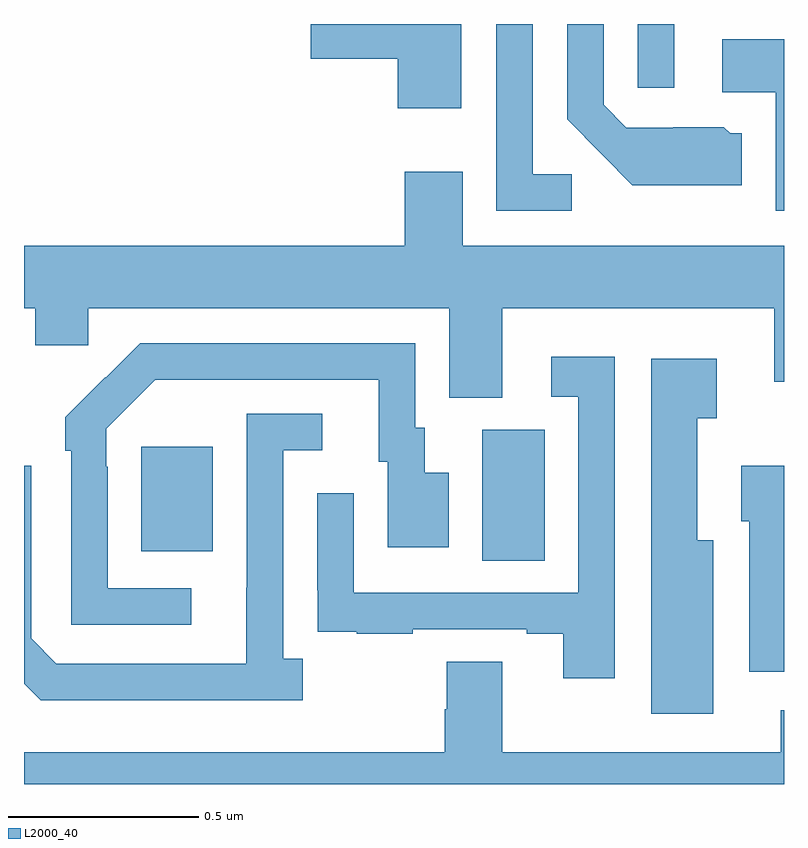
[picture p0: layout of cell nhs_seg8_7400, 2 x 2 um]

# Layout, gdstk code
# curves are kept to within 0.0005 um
import gdstk
lib = gdstk.Library(unit=1e-6, precision=1e-09)
def R(c, l, rs):  # rectangles x0, y0, x1, y1
    for r in rs: c.add(gdstk.rectangle(r[:2], r[2:], *l))
def P(c, l, *ps):  # polygons
    for p in ps: c.add(gdstk.Polygon(p, *l))
L2000_40 = (2000, 40)

nhs_seg8_7400 = lib.new_cell('nhs_seg8_7400')
R(nhs_seg8_7400, L2000_40, [(210.206,1130.488,210.37,1130.832), (209.309,1130.513,209.497,1130.788), (210.615,1131.732,210.711,1131.9)])
P(nhs_seg8_7400, L2000_40, [(210.151,1131.9),(209.754,1131.9),(209.754,1131.809),(209.984,1131.809),(209.984,1131.678),(210.151,1131.678)],
  [(210.889,1131.612),(210.858,1131.612),(210.842,1131.628),(210.708,1131.628),(210.708,1131.627),(210.585,1131.627),(210.525,1131.687),(210.525,1131.9),(210.429,1131.9),(210.429,1131.65),(210.601,1131.476),(210.889,1131.476)],
  [(210.442,1131.504),(210.339,1131.504),(210.339,1131.9),(210.243,1131.9),(210.243,1131.408),(210.442,1131.408)],
  [(211,1131.86),(210.837,1131.86),(210.837,1131.72),(210.978,1131.72),(210.978,1131.408),(211,1131.408)],
  [(210.259,1131.152),(210.974,1131.152),(210.974,1130.958),(211,1130.958),(211,1131.316),(210.154,1131.316),(210.154,1131.511),(210.002,1131.511),(210.002,1131.316),(209,1131.316),(209,1131.152),(209.03,1131.152),(209.03,1131.054),(209.169,1131.054),(209.169,1131.152),(210.119,1131.152),(210.119,1130.917),(210.259,1130.917)],
  [(209.44,1130.415),(209.22,1130.415),(209.22,1130.735),(209.217,1130.735),(209.217,1130.835),(209.346,1130.964),(209.933,1130.964),(209.933,1130.748),(209.957,1130.748),(209.957,1130.523),(210.118,1130.523),(210.118,1130.719),(210.055,1130.719),(210.055,1130.838),(210.03,1130.838),(210.03,1131.06),(209.306,1131.06),(209.215,1130.969),(209.214,1130.97),(209.109,1130.865),(209.109,1130.777),(209.124,1130.777),(209.124,1130.319),(209.44,1130.319)],
  [(210.555,1131.025),(210.387,1131.025),(210.387,1130.919),(210.459,1130.919),(210.459,1130.403),(209.868,1130.403),(209.868,1130.665),(209.772,1130.665),(209.772,1130.41),(209.773,1130.41),(209.773,1130.301),(209.875,1130.301),(209.875,1130.295),(210.023,1130.295),(210.023,1130.307),(210.323,1130.307),(210.323,1130.295),(210.419,1130.295),(210.419,1130.178),(210.555,1130.178)],
  [(210.814,1130.542),(210.772,1130.542),(210.772,1130.863),(210.823,1130.863),(210.823,1131.019),(210.65,1131.019),(210.65,1130.085),(210.814,1130.085)],
  [(209.734,1130.23),(209.682,1130.23),(209.682,1130.778),(209.785,1130.778),(209.785,1130.874),(209.586,1130.874),(209.586,1130.417),(209.585,1130.417),(209.585,1130.217),(209.085,1130.217),(209.019,1130.283),(209.019,1130.737),(209,1130.737),(209,1130.164),(209.044,1130.12),(209.734,1130.12)],
  [(211,1130.737),(210.888,1130.737),(210.888,1130.592),(210.909,1130.592),(210.909,1130.196),(211,1130.196)],
  [(211,1130.094),(210.992,1130.094),(210.992,1129.984),(210.259,1129.984),(210.259,1130.222),(210.112,1130.222),(210.112,1130.097),(210.107,1130.097),(210.107,1129.984),(209,1129.984),(209,1129.9),(211,1129.9)])

lib.write_gds('nhs_seg8_7400.gds')
